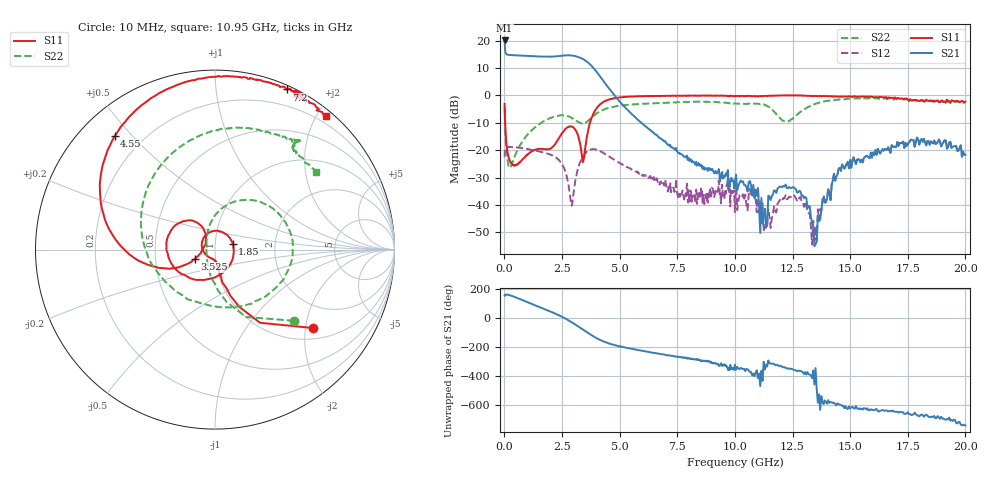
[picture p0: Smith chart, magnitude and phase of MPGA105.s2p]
! File created by 'Testlink'
! SoftPlot for Genesys Testlink
! Start 10.000000000000 MHz  Stop 20.000000000000 GHz  Points 660
# MHZ S RI R 50
! S-Parameter data, F S11 S21 S12 S22
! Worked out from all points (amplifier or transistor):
!   660 points, 10 MHz to 20 GHz, reference 50 ohm
!   highest |S21| = 20.0 dB at 10 MHz (marker M1)
!   |S21| within 3 dB of that: start of sweep to 27.21 MHz
!   unconditionally stable (mu >= 1): 56.09 MHz to 12.16 GHz; 12.24055 GHz to 12.25944 GHz; 12.69 GHz to end of sweep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
!   at 1.275 GHz: K = 1.18, MAG = 14.6 dB, |S12| = -20.0 dB
!   at 6.775 GHz: K = 2.57, MAG = 1.3 dB, |S12| = -32.2 dB
!   at 20 GHz: K = 13.03, MAG = -14.2 dB, |S12| = -21.7 dB
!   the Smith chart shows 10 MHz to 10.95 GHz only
!   S11 on the Smith chart (normalised r, x): 10 MHz: 1.29, -2.21; 1.85 GHz: 1.22, +0.08; 3.525 GHz: 0.79, -0.08; 4.55 GHz: 0.10, +0.45; 7.2 GHz: 0.04, +1.54; 10.95 GHz: 0.09, +2.13
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10  0.5479 -0.4371  -9.371 3.612  0.0475 0.058  0.44 -0.3966
50  0.0621 -0.2117  -5.726 1.918  0.111 0.0221  -0.00432 -0.1833
80  0.0296 -0.1412  -5.48 1.54  0.1137 0.00883  -0.0344 -0.1103
550  -0.0397 -0.0379  -4.212 3.347  0.1029 -0.0449  -0.042 0.0877
1000  -0.0731 0.0412  -2.014 4.874  0.0756 -0.0733  0.000849 0.1914
1400  -0.00927 0.1038  0.3154 5.14  0.0458 -0.086  0.0918 0.2617
1850  0.0985 0.0339  2.724 4.279  0.00946 -0.0868  0.245 0.2676
2275  0.0238 -0.1419  4.544 2.479  -0.0266 -0.0666  0.3938 0.1496
2700  -0.2438 -0.076  5.352 -0.5166  -0.0318 -0.0117  0.409 -0.1115
3000  -0.2211 0.1355  4.38 -2.949  0.0135 0.0102  0.2424 -0.2805
3350  -0.0498 0.0712  1.649 -4.444  0.0587 -0.0385  -0.0751 -0.3004
3525  -0.1122 -0.0516  0.1164 -4.289  0.0494 -0.0744  -0.2391 -0.2121
3925  -0.5213 0.0159  -1.857 -2.287  -0.0242 -0.1011  -0.4126 0.1604
4550  -0.5591 0.6329  -1.304 -0.1617  -0.0677 -0.0367  -0.2143 0.5576
6675  0.2846 0.9349  -0.0824 0.1571  -0.0172 0.0208  0.3205 0.6469
7200  0.3993 0.8925  -0.0265 0.1208  -0.00447 0.0246  0.4003 0.6172
10050  0.4783 0.8468  0.0357 0.00388  0.0236 -0.0107  0.4388 0.5519
10950  0.6191 0.7433  0.0148 0.000751  0.00621 -0.00405  0.562 0.4332
13350  0.9674 0.1126  0.00294 -0.00367  0.00188 0.000238  0.4923 0.4437
14550  0.9313 -0.2149  -0.0272 0.0386  -0.0265 0.0408  0.8318 0.148
16700  0.8898 -0.1722  0.016 0.0996  0.016 0.0988  0.881 -0.1066
20000  0.7692 0.0737  0.0787 -0.0249  0.0784 -0.0256  0.7359 -0.0538
